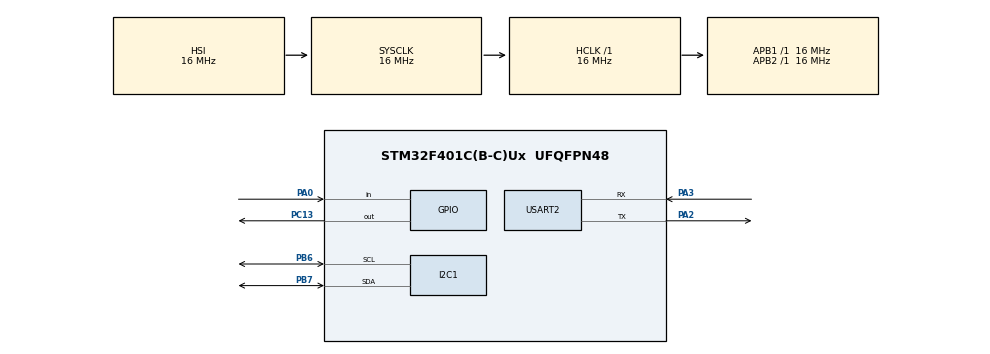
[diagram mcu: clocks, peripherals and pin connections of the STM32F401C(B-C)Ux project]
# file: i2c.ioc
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Mcu.Family=STM32F4
Mcu.Name=STM32F401C(B-C)Ux
Mcu.Package=UFQFPN48
NVIC.PriorityGroup=NVIC_PRIORITYGROUP_4
PA0-WKUP.Signal=GPIO_Input
PA13.Mode=Serial_Wire
PA13.Signal=SYS_JTMS-SWDIO
PA14.Mode=Serial_Wire
PA14.Signal=SYS_JTCK-SWCLK
PA2.Mode=Asynchronous
PA2.Signal=USART2_TX
PA3.Mode=Asynchronous
PA3.Signal=USART2_RX
PB6.Mode=I2C
PB6.Signal=I2C1_SCL
PB7.Mode=I2C
PB7.Signal=I2C1_SDA
PC13-ANTI_TAMP.Signal=GPIO_Output
ProjectManager.HeapSize=0x200
ProjectManager.StackSize=0x400
ProjectManager.TargetToolchain=STM32CubeIDE
RCC.AHBFreq_Value=16000000
RCC.APB1Freq_Value=16000000
RCC.APB2Freq_Value=16000000
RCC.CortexFreq_Value=16000000
RCC.HSE_VALUE=25000000
RCC.HSI_VALUE=16000000
RCC.LSE_VALUE=32768
RCC.SYSCLKFreq_VALUE=16000000
RCC.VCOOutputFreq_Value=192000000
USART2.VirtualMode=VM_ASYNC
board=custom

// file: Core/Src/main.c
/* USER CODE BEGIN Header */
/**
  ******************************************************************************
  * @file           : main.c
  * @brief          : Main program body
  ******************************************************************************
  * @attention
  *
  * Copyright (c) 2026 STMicroelectronics.
  * All rights reserved.
  *
  * This software is licensed under terms that can be found in the LICENSE file
  * in the root directory of this software component.
  * If no LICENSE file comes with this software, it is provided AS-IS.
  *
  ******************************************************************************
  */
/* USER CODE END Header */
#include "main.h"
#include "i2c.h"
#include "usart.h"
#include "gpio.h"

/* USER CODE BEGIN Includes */
#include<math.h>
#include <string.h>
#include<stdio.h>
#define mpu_addr 0x68
#define who_am_i 0x75
#define power 0x6B
#define sample_rate 0x19
#define dlpf 0x1A
#define gyroscope_config 0x1B
#define accelerometer_config 0x1C
#define accelerometer_data 0x3B
#define gyroscope_data 0x43
uint8_t c;
uint8_t pwr=0x00;
uint8_t data;
uint8_t sampling_rate=0;
uint8_t filter=1;
uint8_t gyro_range =1;
uint8_t accel_range =(3<<3);
uint8_t gyro_config=0x18;
uint8_t accel_config = 0x18;
uint8_t tst;

uint8_t accel_buffer[6];
uint8_t gyro_buffer[6];
int16_t accel_raw_x;
int16_t accel_raw_y;
int16_t accel_raw_z;
int16_t gyro_raw_x;
int16_t gyro_raw_y;
int16_t gyro_raw_z;
float accel_x;
float accel_y;
float accel_z;
float gyro_x;
float gyro_y;
float gyro_z;
float gyro_res;
float accel_res;

float roll_accel;
float pitch_accel;
float roll_gyro;
float pitch_gyro;
float dt;
float gyro_cal_x,gyro_cal_y,gyro_cal_z;
float sum_x=0.0f;
float sum_y=0.0f;
float  sum_z=0.0f;
float gyro_offset_x,gyro_offset_y,gyro_offset_z;
float roll,pitch;
char tx_line[128];
/* USER CODE END Includes */
uint32_t current_time;
	  uint32_t previous_time = 0;

void SystemClock_Config(void);

void gyro_calibration()
{

	uint16_t c=0;
	sum_x = 0.0f;
	    sum_y = 0.0f;
	    sum_z = 0.0f;
	for(int i=1;i<=1000;i++)
	{
		HAL_I2C_Mem_Read(&hi2c1,mpu_addr<<1,gyroscope_data, 1, gyro_buffer, 6, 100);
		  gyro_raw_x=(int16_t)((gyro_buffer[0]<<8) | gyro_buffer[1]);
			  gyro_raw_y=(int16_t)((gyro_buffer[2]<<8) | gyro_buffer[3]);
			  gyro_raw_z=(int16_t)((gyro_buffer[4]<<8) | gyro_buffer[5]);
			  gyro_x=gyro_raw_x/16.4f;
			 	  gyro_y=gyro_raw_y/16.4f;
			 	  gyro_z=gyro_raw_z/16.4f;

		sum_x+=gyro_x;
		sum_y+=gyro_y;
		sum_z+=gyro_z;
		c++;
		HAL_Delay(2);
	}
	gyro_offset_x=sum_x/1000;
	gyro_offset_y=sum_y/1000;
	gyro_offset_z=sum_z/1000;
}
int main(void)
{

  /* MCU Configuration--------------------------------------------------------*/

  /* Reset of all peripherals, Initializes the Flash interface and the Systick. */
  HAL_Init();

  /* Configure the system clock */
  SystemClock_Config();

  /* Initialize all configured peripherals */
  MX_GPIO_Init();

  MX_USART2_UART_Init();
  /* USER CODE BEGIN 2 */
  MX_I2C1_Init();
  HAL_Delay(100);
  HAL_I2C_Mem_Write(&hi2c1,mpu_addr<<1,power, 1, &pwr, 1, 100);
  HAL_I2C_Mem_Read(&hi2c1,mpu_addr<<1,who_am_i, 1, &data, 1, 100);

  HAL_I2C_Mem_Write(&hi2c1,mpu_addr<<1,sample_rate, 1, &sampling_rate, 1, 100);
  HAL_I2C_Mem_Write(&hi2c1,mpu_addr<<1,dlpf,1, &filter, 1, 100);
  HAL_I2C_Mem_Read(&hi2c1,mpu_addr<<1,dlpf, 1, &tst, 1, 100);
  HAL_I2C_Mem_Write(&hi2c1,mpu_addr<<1,gyroscope_config,1, &gyro_config, 1, 100);
  HAL_I2C_Mem_Write(&hi2c1,mpu_addr<<1,accelerometer_config,1, &accel_config, 1, 100);
//  HAL_Delay(500);
 gyro_calibration();
//  HAL_I2C_Mem_Read(&hi2c1,mpu_addr<<1,acclerometer_data, 1, &accel_buffer, 6, 100);
  /* USER CODE END 2 */

  /* Infinite loop */
  while (1)
  {
	 HAL_I2C_Mem_Read(&hi2c1,mpu_addr<<1,accelerometer_data, 1, accel_buffer, 6, 100);
	 HAL_I2C_Mem_Read(&hi2c1,mpu_addr<<1,gyroscope_data, 1, gyro_buffer, 6, 100);
	  accel_raw_x=(int16_t)((accel_buffer[0]<<8) | accel_buffer[1]);
	  accel_raw_y=(int16_t)((accel_buffer[2]<<8) | accel_buffer[3]);
	  accel_raw_z=(int16_t)((accel_buffer[4]<<8) | accel_buffer[5]);

	  gyro_raw_x=(int16_t)((gyro_buffer[0]<<8) | gyro_buffer[1]);
	  gyro_raw_y=(int16_t)((gyro_buffer[2]<<8) | gyro_buffer[3]);
	  gyro_raw_z=(int16_t)((gyro_buffer[4]<<8) | gyro_buffer[5]);

	  accel_x=accel_raw_x/2048.0f;
	  accel_y=accel_raw_y/2048.0f;
	  accel_z=accel_raw_z/2048.0f;
	  gyro_x=gyro_raw_x/16.4f;
	  gyro_y=gyro_raw_y/16.4f;
	  gyro_z=gyro_raw_z/16.4f;
	  gyro_cal_x=gyro_x-gyro_offset_x;
	  gyro_cal_y=gyro_y-gyro_offset_y;
	  gyro_cal_z=gyro_z-gyro_offset_z;
	  accel_res=sqrtf((accel_x*accel_x)+(accel_y*accel_y )+(accel_z*accel_z));//magnitude
	  current_time = HAL_GetTick();
	     dt = (float)(current_time - previous_time) / 1000.0f;
	      previous_time = current_time;
	      if (dt <= 0.0f || dt > 0.2f) {
	          dt = 0.008f;
	      }
	  roll_accel=atan2f(accel_y,accel_z)*57.29578f;
	  pitch_accel=atan2f(-accel_x,(sqrtf(accel_y*accel_y+accel_z*accel_z)))*57.29578f;
	  roll_gyro +=gyro_cal_x*dt;
	  pitch_gyro +=gyro_cal_y*dt;

	  roll = 0.98f * (roll + gyro_cal_x * dt)
	         + 0.02f * roll_accel;

	  pitch = 0.98f * (pitch + gyro_cal_y * dt)
	          + 0.02f * pitch_accel;

//	  int n = snprintf(tx_line, sizeof(tx_line),
//	                   "{\"t\":%lu,\"ax\":%ld,\"ay\":%ld,\"az\":%ld,\"gx\":%ld,\"gy\":%ld,\"gz\":%ld}\r\n",
//	                   (unsigned long)HAL_GetTick(),
//	                   (long)(accel_x * 1000.0f), (long)(accel_y * 1000.0f), (long)(accel_z * 1000.0f),
//	                   (long)(gyro_cal_x  * 1000.0f), (long)(gyro_cal_y  * 1000.0f), (long)(gyro_cal_z  * 1000.0f));
//	          HAL_UART_Transmit(&huart2, (uint8_t *)tx_line, (uint16_t)n, 20);
	  int n = snprintf(tx_line, sizeof(tx_line),
	                       "{\"t\":%lu,\"roll\":%.2f,\"pitch\":%.2f,\"ax\":%ld,\"ay\":%ld,\"az\":%ld,\"gx\":%ld,\"gy\":%ld,\"gz\":%ld}\r\n",
	                       (unsigned long)current_time,
	                       roll, pitch,
	                       (long)(accel_x * 1000.0f), (long)(accel_y * 1000.0f), (long)(accel_z * 1000.0f),
	                       (long)(gyro_cal_x * 1000.0f), (long)(gyro_cal_y * 1000.0f), (long)(gyro_cal_z * 1000.0f));
	      HAL_UART_Transmit(&huart2, (uint8_t *)tx_line, (uint16_t)n, 20);

	  HAL_Delay(1);
  }
}

void SystemClock_Config(void)
{
  RCC_OscInitTypeDef RCC_OscInitStruct = {0};
  RCC_ClkInitTypeDef RCC_ClkInitStruct = {0};

  /** Configure the main internal regulator output voltage
  */
  __HAL_RCC_PWR_CLK_ENABLE();
  __HAL_PWR_VOLTAGESCALING_CONFIG(PWR_REGULATOR_VOLTAGE_SCALE2);

  /** Initializes the RCC Oscillators according to the specified parameters
  * in the RCC_OscInitTypeDef structure.
  */
  RCC_OscInitStruct.OscillatorType = RCC_OSCILLATORTYPE_HSI;
  RCC_OscInitStruct.HSIState = RCC_HSI_ON;
  RCC_OscInitStruct.HSICalibrationValue = RCC_HSICALIBRATION_DEFAULT;
  RCC_OscInitStruct.PLL.PLLState = RCC_PLL_NONE;
  if (HAL_RCC_OscConfig(&RCC_OscInitStruct) != HAL_OK)
  {
    Error_Handler();
  }

  /** Initializes the CPU, AHB and APB buses clocks
  */
  RCC_ClkInitStruct.ClockType = RCC_CLOCKTYPE_HCLK|RCC_CLOCKTYPE_SYSCLK
                              |RCC_CLOCKTYPE_PCLK1|RCC_CLOCKTYPE_PCLK2;
  RCC_ClkInitStruct.SYSCLKSource = RCC_SYSCLKSOURCE_HSI;
  RCC_ClkInitStruct.AHBCLKDivider = RCC_SYSCLK_DIV1;
  RCC_ClkInitStruct.APB1CLKDivider = RCC_HCLK_DIV1;
  RCC_ClkInitStruct.APB2CLKDivider = RCC_HCLK_DIV1;

  if (HAL_RCC_ClockConfig(&RCC_ClkInitStruct, FLASH_LATENCY_0) != HAL_OK)
  {
    Error_Handler();
  }
}

void Error_Handler(void)
{
  __disable_irq();
  while (1)
  {
  }
}
